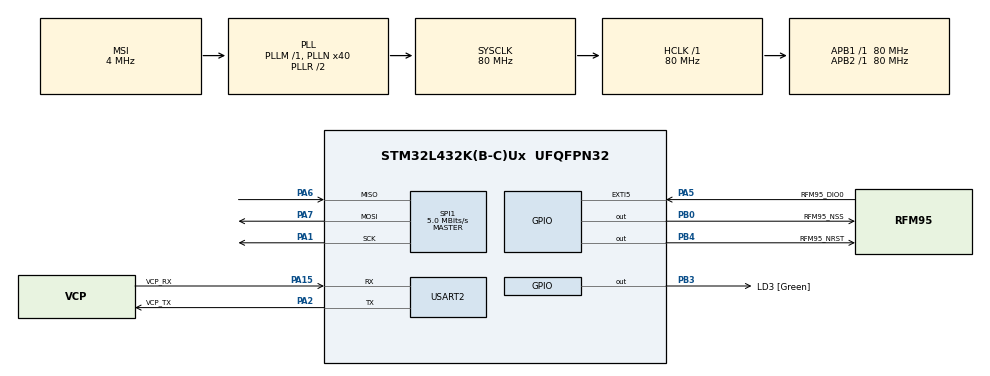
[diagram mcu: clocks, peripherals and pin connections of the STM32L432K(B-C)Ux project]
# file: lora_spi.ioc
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Mcu.Family=STM32L4
Mcu.Name=STM32L432K(B-C)Ux
Mcu.Package=UFQFPN32
NVIC.EXTI9_5_IRQn=true\:0\:0\:false\:false\:true\:true\:true\:true
NVIC.PriorityGroup=NVIC_PRIORITYGROUP_4
PA0.GPIO_Label=MCO [High speed clock in]
PA0.Mode=HSE-External-Clock-Source-for-LittleOrca
PA0.Signal=RCC_CK_IN
PA1.Mode=Full_Duplex_Master
PA1.Signal=SPI1_SCK
PA13\ (JTMS-SWDIO).GPIO_Label=SWDIO
PA13\ (JTMS-SWDIO).Mode=Serial_Wire
PA13\ (JTMS-SWDIO).Signal=SYS_JTMS-SWDIO
PA14\ (JTCK-SWCLK).GPIO_Label=SWCLK
PA14\ (JTCK-SWCLK).Mode=Serial_Wire
PA14\ (JTCK-SWCLK).Signal=SYS_JTCK-SWCLK
PA15\ (JTDI).GPIO_Label=VCP_RX
PA15\ (JTDI).Mode=Asynchronous
PA15\ (JTDI).Signal=USART2_RX
PA2.GPIO_Label=VCP_TX
PA2.Mode=Asynchronous
PA2.Signal=USART2_TX
PA5.GPIO_Label=RFM95_DIO0
PA5.GPIO_ModeDefaultEXTI=GPIO_MODE_IT_RISING
PA5.Signal=GPXTI5
PA6.Mode=Full_Duplex_Master
PA6.Signal=SPI1_MISO
PA7.Mode=Full_Duplex_Master
PA7.Signal=SPI1_MOSI
PB0.GPIO_Label=RFM95_NSS
PB0.PinState=GPIO_PIN_SET
PB0.Signal=GPIO_Output
PB3\ (JTDO-TRACESWO).GPIO_Label=LD3 [Green]
PB3\ (JTDO-TRACESWO).Signal=GPIO_Output
PB4\ (NJTRST).GPIO_Label=RFM95_NRST
PB4\ (NJTRST).PinState=GPIO_PIN_SET
PB4\ (NJTRST).Signal=GPIO_Output
PC14-OSC32_IN\ (PC14).Mode=LSE-External-Oscillator
PC14-OSC32_IN\ (PC14).Signal=RCC_OSC32_IN
PC15-OSC32_OUT\ (PC15).Mode=LSE-External-Oscillator
PC15-OSC32_OUT\ (PC15).Signal=RCC_OSC32_OUT
ProjectManager.HeapSize=0x200
ProjectManager.StackSize=0x400
ProjectManager.TargetToolchain=CMake
RCC.AHBFreq_Value=80000000
RCC.APB1Freq_Value=80000000
RCC.APB1TimFreq_Value=80000000
RCC.APB2Freq_Value=80000000
RCC.APB2TimFreq_Value=80000000
RCC.CortexFreq_Value=80000000
RCC.HCLKFreq_Value=80000000
RCC.HSE_VALUE=8000000
RCC.HSI16_VALUE=16000000
RCC.HSI48_VALUE=48000000
RCC.HSI_VALUE=16000000
RCC.MSI_VALUE=4000000
RCC.PLLMUL=RCC_PLLMUL_4
RCC.PLLN=40
RCC.SYSCLKFreq_VALUE=80000000
RCC.SYSCLKSource=RCC_SYSCLKSOURCE_PLLCLK
RCC.VCOOutputFreq_Value=160000000
SPI1.BaudRatePrescaler=SPI_BAUDRATEPRESCALER_16
SPI1.CalculateBaudRate=5.0 MBits/s
SPI1.DataSize=SPI_DATASIZE_8BIT
SPI1.Direction=SPI_DIRECTION_2LINES
SPI1.Mode=SPI_MODE_MASTER
SPI1.VirtualType=VM_MASTER
USART2.VirtualMode-Asynchronous=VM_ASYNC
board=NUCLEO-L432KC

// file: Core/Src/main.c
/* USER CODE BEGIN Header */
/**
  ******************************************************************************
  * @file           : main.c
  * @brief          : Main program body
  ******************************************************************************
  * @attention
  *
  * Copyright (c) 2026 STMicroelectronics.
  * All rights reserved.
  *
  * This software is licensed under terms that can be found in the LICENSE file
  * in the root directory of this software component.
  * If no LICENSE file comes with this software, it is provided AS-IS.
  *
  ******************************************************************************
  */
/* USER CODE END Header */
#include "main.h"

/* USER CODE BEGIN Includes */
#include <stdint.h>
#include <stdio.h>

#include "rfm95.h"
/* USER CODE END Includes */

SPI_HandleTypeDef hspi1;

UART_HandleTypeDef huart2;

/* USER CODE BEGIN PV */
int _write(int file, char *ptr, int len)
{
  HAL_UART_Transmit(&huart2, (uint8_t *)ptr, len, HAL_MAX_DELAY);
  return len;
}

uint32_t get_precision_tick(void) {
  uint32_t ms;
  uint32_t st_val;
  uint32_t load = SysTick->LOAD;
  do {
    ms = HAL_GetTick();
    st_val = SysTick->VAL;
  } while (ms != HAL_GetTick());

  // SysTick counts down. Convert to microseconds.
  return (ms * 1000) + ((load - st_val) * 1000) / load;
}

void precision_sleep_until(uint32_t target) {
  while ((int32_t)(target - get_precision_tick()) > 0) {
    // Wait
  }
}

rfm95_handle_t rfm95_handle = {
  .spi_handle = &hspi1,
  .nss_port = RFM95_NSS_GPIO_Port,
  .nss_pin = RFM95_NSS_Pin,
  .nrst_port = RFM95_NRST_GPIO_Port,
  .nrst_pin = RFM95_NRST_Pin,
  .precision_tick_frequency = 1000000,
  .precision_tick_drift_ns_per_s = 20000, // Roughly 20ppm drift
  .get_precision_tick = get_precision_tick,
  .precision_sleep_until = precision_sleep_until
};

void HAL_GPIO_EXTI_Callback(uint16_t GPIO_Pin)
{
  if (GPIO_Pin == RFM95_DIO0_Pin) {
    rfm95_on_interrupt(&rfm95_handle, RFM95_INTERRUPT_DIO0);
  }
}
/* USER CODE END PV */

void SystemClock_Config(void);
static void MX_GPIO_Init(void);
static void MX_SPI1_Init(void);
static void MX_USART2_UART_Init(void);

/* USER CODE BEGIN 0 */

/*
 * LoRa image-transfer framing (must match the BL808 sender).
 *   HEADER : [0xA1][len(4,BE)][chunks(2,BE)]
 *   DATA   : [0xA2][idx(2,BE)][ up to 240 JPEG bytes ]
 *   TAIL   : [0xA3][len(4,BE)]
 *
 * Each received image is dumped to the serial port as:
 *   JPEG_BEGIN len=<N> chunks=<C> snr=<S>
 *   <hex line per DATA chunk>
 *   ...
 *   JPEG_END received=<r>/<C> gaps=<g>
 * Copy the hex lines between the markers and run:  xxd -r -p > img.jpg
 */
#define PKT_TYPE_HEADER 0xA1
#define PKT_TYPE_DATA   0xA2
#define PKT_TYPE_TAIL   0xA3

static void uart_write_hex(const uint8_t *data, size_t len)
{
  static const char hexchars[] = "0123456789abcdef";
  char line[2 * 240 + 2];
  size_t pos = 0;
  for (size_t i = 0; i < len; i++) {
    line[pos++] = hexchars[data[i] >> 4];
    line[pos++] = hexchars[data[i] & 0x0F];
  }
  line[pos++] = '\r';
  line[pos++] = '\n';
  HAL_UART_Transmit(&huart2, (uint8_t *)line, pos, HAL_MAX_DELAY);
}
/* USER CODE END 0 */

int main(void)
{

  /* MCU Configuration--------------------------------------------------------*/

  /* Reset of all peripherals, Initializes the Flash interface and the Systick. */
  HAL_Init();

  /* Configure the system clock */
  SystemClock_Config();

  /* Initialize all configured peripherals */
  MX_GPIO_Init();
  MX_SPI1_Init();
  MX_USART2_UART_Init();
  /* USER CODE BEGIN 2 */
  // Initialise RFM95 module.
  if (!rfm95_init(&rfm95_handle)) {
    printf("RFM95 init failed\r\n");
  }
  printf("RFM95 init successfully!\r\n");

  /* USER CODE END 2 */

  /* Infinite loop */
  /* USER CODE BEGIN WHILE */

  uint8_t rx_buffer[252];
  size_t  rx_len;
  int8_t  received_snr;

  uint32_t img_len      = 0;
  uint16_t total_chunks = 0;
  uint16_t recv_chunks  = 0;
  uint16_t expected_idx = 0;
  uint16_t gaps         = 0;
  uint8_t  in_image     = 0;
  uint32_t t_begin      = 0;

  /* Read the modem configuration registers once (they don't change at runtime). */
  uint8_t cfg1 = 0, cfg2 = 0, cfg3 = 0;
  rfm95_read_register(&rfm95_handle, RFM95_REGISTER_MODEM_CONFIG_1, &cfg1);
  rfm95_read_register(&rfm95_handle, RFM95_REGISTER_MODEM_CONFIG_2, &cfg2);
  rfm95_read_register(&rfm95_handle, RFM95_REGISTER_MODEM_CONFIG_3, &cfg3);

  printf("LoRa image receiver ready — waiting for transmissions...\r\n");

  while (1)
  {
    /* USER CODE END WHILE */

    /* USER CODE BEGIN 3 */
    if (!rfm95_receive_package(&rfm95_handle, rx_buffer, &rx_len, &received_snr)) {
      continue;  /* timeout, keep listening */
    }
    if (rx_len < 1) {
      continue;
    }

    switch (rx_buffer[0]) {
      case PKT_TYPE_HEADER:
        if (rx_len < 7) break;
        {
          uint32_t new_len = ((uint32_t)rx_buffer[1] << 24) | ((uint32_t)rx_buffer[2] << 16) |
                             ((uint32_t)rx_buffer[3] << 8)  |  (uint32_t)rx_buffer[4];
          uint16_t new_chunks = ((uint16_t)rx_buffer[5] << 8) | rx_buffer[6];
          /* The sender transmits HEADER several times for resilience. Ignore
             repeats of the image we're already receiving, but still accept a
             genuinely new image (e.g. if the previous TAIL was lost). */
          if (in_image && new_len == img_len && new_chunks == total_chunks) {
            break;
          }
          img_len = new_len;
          total_chunks = new_chunks;
        }
        recv_chunks = 0;
        expected_idx = 0;
        gaps = 0;
        in_image = 1;
        t_begin = HAL_GetTick();
        printf("\r\nJPEG_BEGIN len=%lu chunks=%u snr=%d CONFIG1=0x%02X CONFIG2=0x%02X CONFIG3=0x%02X\r\n",
               (unsigned long)img_len, total_chunks, (int)received_snr,
               cfg1, cfg2, cfg3);
        break;

      case PKT_TYPE_DATA:
        if (rx_len < 3 || !in_image) break;
        {
          uint16_t idx = ((uint16_t)rx_buffer[1] << 8) | rx_buffer[2];
          if (idx != expected_idx) {
            gaps++;  /* one or more missing/out-of-order chunks */
          }
          expected_idx = (uint16_t)(idx + 1);
          recv_chunks++;
          uart_write_hex(&rx_buffer[3], rx_len - 3);
        }
        break;

      case PKT_TYPE_TAIL:
        if (!in_image) break;
        printf("JPEG_END received=%u/%u gaps=%u time=%lums\r\n",
               recv_chunks, total_chunks, gaps,
               (unsigned long)(HAL_GetTick() - t_begin));
        in_image = 0;
        break;

      default:
        break;
    }
  }
  /* USER CODE END 3 */
}

void SystemClock_Config(void)
{
  RCC_OscInitTypeDef RCC_OscInitStruct = {0};
  RCC_ClkInitTypeDef RCC_ClkInitStruct = {0};

  /** Configure the main internal regulator output voltage
  */
  if (HAL_PWREx_ControlVoltageScaling(PWR_REGULATOR_VOLTAGE_SCALE1) != HAL_OK)
  {
    Error_Handler();
  }

  /** Configure LSE Drive Capability
  */
  HAL_PWR_EnableBkUpAccess();
  __HAL_RCC_LSEDRIVE_CONFIG(RCC_LSEDRIVE_LOW);

  /** Initializes the RCC Oscillators according to the specified parameters
  * in the RCC_OscInitTypeDef structure.
  */
  RCC_OscInitStruct.OscillatorType = RCC_OSCILLATORTYPE_LSE|RCC_OSCILLATORTYPE_MSI;
  RCC_OscInitStruct.LSEState = RCC_LSE_ON;
  RCC_OscInitStruct.MSIState = RCC_MSI_ON;
  RCC_OscInitStruct.MSICalibrationValue = 0;
  RCC_OscInitStruct.MSIClockRange = RCC_MSIRANGE_6;
  RCC_OscInitStruct.PLL.PLLState = RCC_PLL_ON;
  RCC_OscInitStruct.PLL.PLLSource = RCC_PLLSOURCE_MSI;
  RCC_OscInitStruct.PLL.PLLM = 1;
  RCC_OscInitStruct.PLL.PLLN = 40;
  RCC_OscInitStruct.PLL.PLLP = RCC_PLLP_DIV7;
  RCC_OscInitStruct.PLL.PLLQ = RCC_PLLQ_DIV2;
  RCC_OscInitStruct.PLL.PLLR = RCC_PLLR_DIV2;
  if (HAL_RCC_OscConfig(&RCC_OscInitStruct) != HAL_OK)
  {
    Error_Handler();
  }

  /** Initializes the CPU, AHB and APB buses clocks
  */
  RCC_ClkInitStruct.ClockType = RCC_CLOCKTYPE_HCLK|RCC_CLOCKTYPE_SYSCLK
                              |RCC_CLOCKTYPE_PCLK1|RCC_CLOCKTYPE_PCLK2;
  RCC_ClkInitStruct.SYSCLKSource = RCC_SYSCLKSOURCE_PLLCLK;
  RCC_ClkInitStruct.AHBCLKDivider = RCC_SYSCLK_DIV1;
  RCC_ClkInitStruct.APB1CLKDivider = RCC_HCLK_DIV1;
  RCC_ClkInitStruct.APB2CLKDivider = RCC_HCLK_DIV1;

  if (HAL_RCC_ClockConfig(&RCC_ClkInitStruct, FLASH_LATENCY_4) != HAL_OK)
  {
    Error_Handler();
  }

  /** Enable MSI Auto calibration
  */
  HAL_RCCEx_EnableMSIPLLMode();
}

static void MX_SPI1_Init(void)
{

  /* SPI1 parameter configuration*/
  hspi1.Instance = SPI1;
  hspi1.Init.Mode = SPI_MODE_MASTER;
  hspi1.Init.Direction = SPI_DIRECTION_2LINES;
  hspi1.Init.DataSize = SPI_DATASIZE_8BIT;
  hspi1.Init.CLKPolarity = SPI_POLARITY_LOW;
  hspi1.Init.CLKPhase = SPI_PHASE_1EDGE;
  hspi1.Init.NSS = SPI_NSS_SOFT;
  hspi1.Init.BaudRatePrescaler = SPI_BAUDRATEPRESCALER_16;
  hspi1.Init.FirstBit = SPI_FIRSTBIT_MSB;
  hspi1.Init.TIMode = SPI_TIMODE_DISABLE;
  hspi1.Init.CRCCalculation = SPI_CRCCALCULATION_DISABLE;
  hspi1.Init.CRCPolynomial = 7;
  hspi1.Init.CRCLength = SPI_CRC_LENGTH_DATASIZE;
  hspi1.Init.NSSPMode = SPI_NSS_PULSE_ENABLE;
  if (HAL_SPI_Init(&hspi1) != HAL_OK)
  {
    Error_Handler();
  }

}

static void MX_USART2_UART_Init(void)
{

  huart2.Instance = USART2;
  huart2.Init.BaudRate = 115200;
  huart2.Init.WordLength = UART_WORDLENGTH_8B;
  huart2.Init.StopBits = UART_STOPBITS_1;
  huart2.Init.Parity = UART_PARITY_NONE;
  huart2.Init.Mode = UART_MODE_TX_RX;
  huart2.Init.HwFlowCtl = UART_HWCONTROL_NONE;
  huart2.Init.OverSampling = UART_OVERSAMPLING_16;
  huart2.Init.OneBitSampling = UART_ONE_BIT_SAMPLE_DISABLE;
  huart2.AdvancedInit.AdvFeatureInit = UART_ADVFEATURE_NO_INIT;
  if (HAL_UART_Init(&huart2) != HAL_OK)
  {
    Error_Handler();
  }

}

static void MX_GPIO_Init(void)
{
  GPIO_InitTypeDef GPIO_InitStruct = {0};

  /* GPIO Ports Clock Enable */
  __HAL_RCC_GPIOC_CLK_ENABLE();
  __HAL_RCC_GPIOA_CLK_ENABLE();
  __HAL_RCC_GPIOB_CLK_ENABLE();

  /*Configure GPIO pin Output Level */
  HAL_GPIO_WritePin(GPIOB, RFM95_NSS_Pin|RFM95_NRST_Pin, GPIO_PIN_SET);

  /*Configure GPIO pin Output Level */
  HAL_GPIO_WritePin(LD3_GPIO_Port, LD3_Pin, GPIO_PIN_RESET);

  /*Configure GPIO pin : RFM95_DIO0_Pin */
  GPIO_InitStruct.Pin = RFM95_DIO0_Pin;
  GPIO_InitStruct.Mode = GPIO_MODE_IT_RISING;
  GPIO_InitStruct.Pull = GPIO_NOPULL;
  HAL_GPIO_Init(RFM95_DIO0_GPIO_Port, &GPIO_InitStruct);

  /*Configure GPIO pins : RFM95_NSS_Pin LD3_Pin RFM95_NRST_Pin */
  GPIO_InitStruct.Pin = RFM95_NSS_Pin|LD3_Pin|RFM95_NRST_Pin;
  GPIO_InitStruct.Mode = GPIO_MODE_OUTPUT_PP;
  GPIO_InitStruct.Pull = GPIO_NOPULL;
  GPIO_InitStruct.Speed = GPIO_SPEED_FREQ_LOW;
  HAL_GPIO_Init(GPIOB, &GPIO_InitStruct);

  /* EXTI interrupt init*/
  HAL_NVIC_SetPriority(EXTI9_5_IRQn, 0, 0);
  HAL_NVIC_EnableIRQ(EXTI9_5_IRQn);

}

void Error_Handler(void)
{
  __disable_irq();
  while (1)
  {
  }
}
